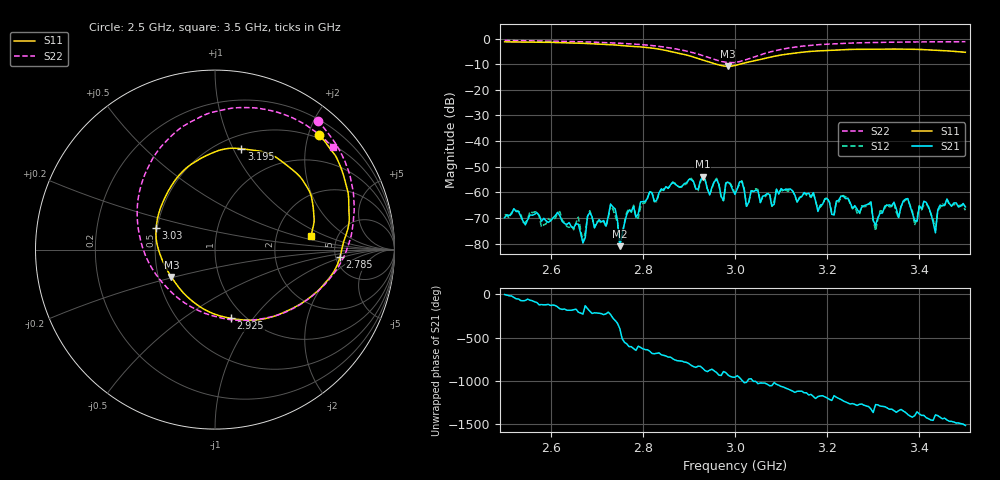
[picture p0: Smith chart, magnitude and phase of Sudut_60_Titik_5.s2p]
# Hz S RI R 50
! CMT, C1220, 16058040, 17.2.0/1
! Date: 15/08/2018 10:23:27
! Data: Format (Calibration Info)
! Freq  S11: Re/Im (F2)  S21: Re/Im (F2)  S12: Re/Im (F2)  S22: Re/Im (F2)
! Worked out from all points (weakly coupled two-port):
!   201 points, 2.5 GHz to 3.5 GHz, reference 50 ohm
!   highest |S21| = -53.88 dB at 2.93 GHz (marker M1); lowest = -81.0 dB at 2.75 GHz (marker M2)
!   lowest |S11| = -10.8 dB at 2.985 GHz (marker M3), VSWR 1.80, Z = 29.3 - j9.77 ohm
!   |S11| at or under -10 dB: 2.959 GHz to 3.011 GHz (51.56 MHz wide, 1.73 % of centre)
!   |S22| runs from -9.4 to -0.7 dB; largest |S21 - S12| = 0.00017
!   S11 on the Smith chart (normalised r, x): 2.5 GHz: 0.44, +2.19; 2.785 GHz: 5.46, -0.90; 2.925 GHz: 0.87, -0.79; 3.03 GHz: 0.49, +0.13; 3.195 GHz: 0.64, +1.08; 3.5 GHz: 3.19, +0.68
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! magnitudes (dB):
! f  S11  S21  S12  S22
! 2.5 GHz  -1.3  -69.9  -68.6  -0.7
! 2.66 GHz  -1.8  -72.4  -69.7  -1.2
! 2.67 GHz  -1.9  -79.7  -79.4  -1.3
! 2.685 GHz  -2.0  -67.9  -67.2  -1.3
! 2.73 GHz  -2.4  -64.5  -65.0  -1.6
! 2.75 GHz  -2.7  -81.0  -79.7  -1.8
! 2.785 GHz  -3.1  -69.7  -69.5  -2.2
! 2.835 GHz  -4.1  -60.2  -60.4  -3.0
! 2.925 GHz  -8.1  -55.4  -56.0  -6.3
! 2.93 GHz  -8.4  -53.9  -54.0  -6.6
! 2.985 GHz  -10.8  -56.1  -55.6  -9.3
! 3 GHz  -10.5  -60.8  -60.3  -9.3
! 3.03 GHz  -9.1  -63.8  -63.9  -7.9
! 3.17 GHz  -4.9  -60.1  -60.1  -2.6
! 3.195 GHz  -4.7  -62.7  -62.6  -2.2
! 3.295 GHz  -4.2  -63.7  -64.2  -1.6
! 3.305 GHz  -4.2  -72.9  -75.0  -1.5
! 3.335 GHz  -4.1  -64.9  -65.7  -1.4
! 3.415 GHz  -4.4  -63.9  -64.5  -1.3
! 3.435 GHz  -4.6  -75.8  -74.9  -1.3
! 3.46 GHz  -4.8  -62.6  -62.8  -1.2
! 3.5 GHz  -5.4  -65.7  -67.0  -1.2
